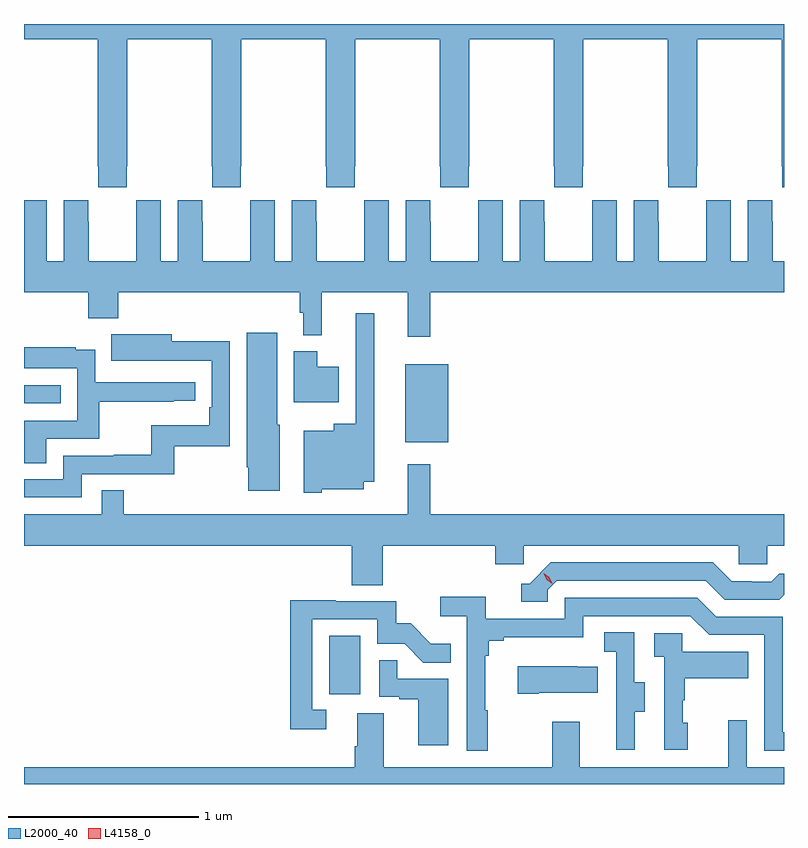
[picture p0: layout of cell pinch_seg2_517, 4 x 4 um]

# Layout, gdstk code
import gdstk
lib = gdstk.Library(unit=1e-6, precision=1e-09)
def R(c, l, rs):  # rectangles x0, y0, x1, y1
    for r in rs: c.add(gdstk.rectangle(r[:2], r[2:], *l))
def P(c, l, *ps):  # polygons
    for p in ps: c.add(gdstk.Polygon(p, *l))
L2000_40 = (2000, 40)
L4158_0 = (4158, 0)

pinch_seg2_517 = lib.new_cell('pinch_seg2_517')
R(pinch_seg2_517, L2000_40, [(995.378,590.91,995.542,591.217), (995.777,592.235,996.004,592.645), (993.771,592.44,993.965,592.536)])
P(pinch_seg2_517, L2000_40, [(995.359,593.689),(995.361,593.689),(995.361,593.577),(995.511,593.577),(995.511,593.689),(995.514,593.689),(995.514,594.356),(995.959,594.356),(995.959,593.689),(995.961,593.689),(995.961,593.577),(996.111,593.577),(996.111,593.689),(996.114,593.689),(996.114,594.356),(996.559,594.356),(996.559,593.689),(996.561,593.689),(996.561,593.577),(996.711,593.577),(996.711,593.689),(996.714,593.689),(996.714,594.356),(997.159,594.356),(997.159,593.689),(997.161,593.689),(997.161,593.577),(997.311,593.577),(997.311,593.689),(997.314,593.689),(997.314,594.356),(997.759,594.356),(997.759,593.689),(997.761,593.689),(997.761,593.577),(997.771,593.577),(997.771,594.437),(993.771,594.437),(993.771,594.356),(994.159,594.356),(994.159,593.689),(994.161,593.689),(994.161,593.577),(994.311,593.577),(994.311,593.689),(994.314,593.689),(994.314,594.356),(994.759,594.356),(994.759,593.689),(994.761,593.689),(994.761,593.577),(994.911,593.577),(994.911,593.689),(994.914,593.689),(994.914,594.356),(995.359,594.356)],
  [(997.771,593.188),(997.711,593.188),(997.711,593.396),(997.71,593.396),(997.71,593.509),(997.58,593.509),(997.58,593.188),(997.492,593.188),(997.492,593.509),(997.362,593.509),(997.362,593.396),(997.361,593.396),(997.361,593.188),(997.111,593.188),(997.111,593.396),(997.11,593.396),(997.11,593.509),(996.98,593.509),(996.98,593.188),(996.892,593.188),(996.892,593.509),(996.762,593.509),(996.762,593.396),(996.761,593.396),(996.761,593.188),(996.511,593.188),(996.511,593.396),(996.51,593.396),(996.51,593.509),(996.38,593.509),(996.38,593.188),(996.292,593.188),(996.292,593.509),(996.162,593.509),(996.162,593.396),(996.161,593.396),(996.161,593.188),(995.911,593.188),(995.911,593.396),(995.91,593.396),(995.91,593.509),(995.78,593.509),(995.78,593.188),(995.692,593.188),(995.692,593.509),(995.562,593.509),(995.562,593.396),(995.561,593.396),(995.561,593.188),(995.311,593.188),(995.311,593.396),(995.31,593.396),(995.31,593.509),(995.18,593.509),(995.18,593.188),(995.092,593.188),(995.092,593.509),(994.962,593.509),(994.962,593.396),(994.961,593.396),(994.961,593.188),(994.711,593.188),(994.711,593.396),(994.71,593.396),(994.71,593.509),(994.58,593.509),(994.58,593.188),(994.492,593.188),(994.492,593.509),(994.362,593.509),(994.362,593.396),(994.361,593.396),(994.361,593.188),(994.111,593.188),(994.111,593.396),(994.11,593.396),(994.11,593.509),(993.98,593.509),(993.98,593.188),(993.892,593.188),(993.892,593.509),(993.771,593.509),(993.771,593.024),(994.108,593.024),(994.108,592.889),(994.268,592.889),(994.268,593.024),(995.221,593.024),(995.221,592.917),(995.24,592.917),(995.24,592.799),(995.339,592.799),(995.339,593.024),(995.792,593.024),(995.792,592.791),(995.909,592.791),(995.909,593.024),(997.771,593.024)],
  [(995.337,591.989),(995.56,591.989),(995.56,592.028),(995.614,592.028),(995.614,592.915),(995.517,592.915),(995.517,592.333),(995.402,592.333),(995.402,592.297),(995.243,592.297),(995.243,591.971),(995.337,591.971)],
  [(995.116,592.329),(995.104,592.329),(995.104,592.813),(994.943,592.813),(994.943,592.104),(994.951,592.104),(994.951,591.981),(995.116,591.981)],
  [(994.074,592.068),(994.561,592.068),(994.561,592.215),(994.854,592.215),(994.854,592.766),(994.549,592.766),(994.549,592.804),(994.231,592.804),(994.231,592.664),(994.445,592.664),(994.445,592.665),(994.758,592.665),(994.758,592.42),(994.745,592.42),(994.745,592.324),(994.44,592.324),(994.44,592.169),(994.243,592.169),(994.243,592.164),(993.978,592.164),(993.978,592.041),(993.771,592.041),(993.771,591.945),(994.074,591.945)],
  [(993.889,592.254),(994.166,592.254),(994.166,592.45),(994.559,592.45),(994.559,592.455),(994.672,592.455),(994.672,592.551),(994.146,592.551),(994.146,592.723),(994.043,592.723),(994.043,592.735),(993.771,592.735),(993.771,592.626),(994.05,592.626),(994.05,592.35),(993.771,592.35),(993.771,592.126),(993.889,592.126)],
  [(995.428,592.633),(995.314,592.633),(995.314,592.714),(995.192,592.714),(995.192,592.445),(995.428,592.445)],
  [(995.66,591.692),(996.251,591.692),(996.251,591.594),(996.402,591.594),(996.402,591.692),(997.533,591.692),(997.533,591.594),(997.683,591.594),(997.683,591.692),(997.771,591.692),(997.771,591.856),(995.909,591.856),(995.909,592.12),(995.791,592.12),(995.791,591.856),(994.295,591.856),(994.295,591.983),(994.179,591.983),(994.179,591.856),(993.771,591.856),(993.771,591.692),(995.495,591.692),(995.495,591.484),(995.66,591.484)],
  [(996.528,591.459),(996.576,591.507),(997.359,591.507),(997.458,591.408),(997.747,591.408),(997.771,591.432),(997.771,591.544),(997.747,591.544),(997.705,591.501),(997.602,591.501),(997.602,591.504),(997.495,591.504),(997.396,591.603),(996.543,591.603),(996.432,591.492),(996.389,591.492),(996.389,591.396),(996.528,591.396)],
  [(996.211,590.825),(996.199,590.825),(996.199,591.113),(996.218,591.113),(996.218,591.19),(996.295,591.19),(996.295,591.209),(996.714,591.209),(996.714,591.321),(997.278,591.321),(997.377,591.222),(997.668,591.222),(997.668,590.613),(997.771,590.613),(997.771,590.709),(997.764,590.709),(997.764,591.318),(997.414,591.318),(997.315,591.417),(996.618,591.417),(996.618,591.306),(996.2,591.306),(996.2,591.422),(995.961,591.422),(995.961,591.32),(996.102,591.32),(996.102,590.613),(996.211,590.613)],
  [(995.362,590.829),(995.289,590.829),(995.289,591.303),(995.631,591.303),(995.631,591.174),(995.775,591.174),(995.873,591.076),(996.017,591.076),(996.017,591.175),(995.913,591.175),(995.806,591.282),(995.73,591.282),(995.73,591.399),(995.411,591.399),(995.411,591.404),(995.173,591.404),(995.173,590.724),(995.362,590.724)],
  [(996.985,590.818),(997.039,590.818),(997.039,590.973),(996.984,590.973),(996.984,591.236),(996.825,591.236),(996.825,591.133),(996.888,591.133),(996.888,590.829),(996.887,590.829),(996.887,590.616),(996.985,590.616)],
  [(997.264,590.76),(997.239,590.76),(997.239,590.879),(997.249,590.879),(997.249,590.993),(997.583,590.993),(997.583,591.133),(997.236,591.133),(997.236,591.231),(997.089,591.231),(997.089,591.107),(997.14,591.107),(997.14,590.616),(997.264,590.616)],
  [(996.004,590.991),(995.735,590.991),(995.735,591.089),(995.64,591.089),(995.64,590.895),(995.747,590.895),(995.747,590.883),(995.846,590.883),(995.846,590.64),(996.004,590.64)],
  [(996.481,590.918),(996.791,590.918),(996.791,591.055),(996.683,591.055),(996.683,591.058),(996.369,591.058),(996.369,590.911),(996.481,590.911)],
  [(997.771,590.524),(997.575,590.524),(997.575,590.773),(997.478,590.773),(997.478,590.524),(996.697,590.524),(996.697,590.764),(996.55,590.764),(996.55,590.524),(995.665,590.524),(995.665,590.81),(995.525,590.81),(995.525,590.636),(995.513,590.636),(995.513,590.524),(993.771,590.524),(993.771,590.437),(997.771,590.437)])
P(pinch_seg2_517, L4158_0, [(996.551,591.492),(996.521,591.512),(996.506,591.545),(996.506,591.546),(996.506,591.546),(996.536,591.526),(996.551,591.493),(996.551,591.492)])

lib.write_gds('pinch_seg2_517.gds')
